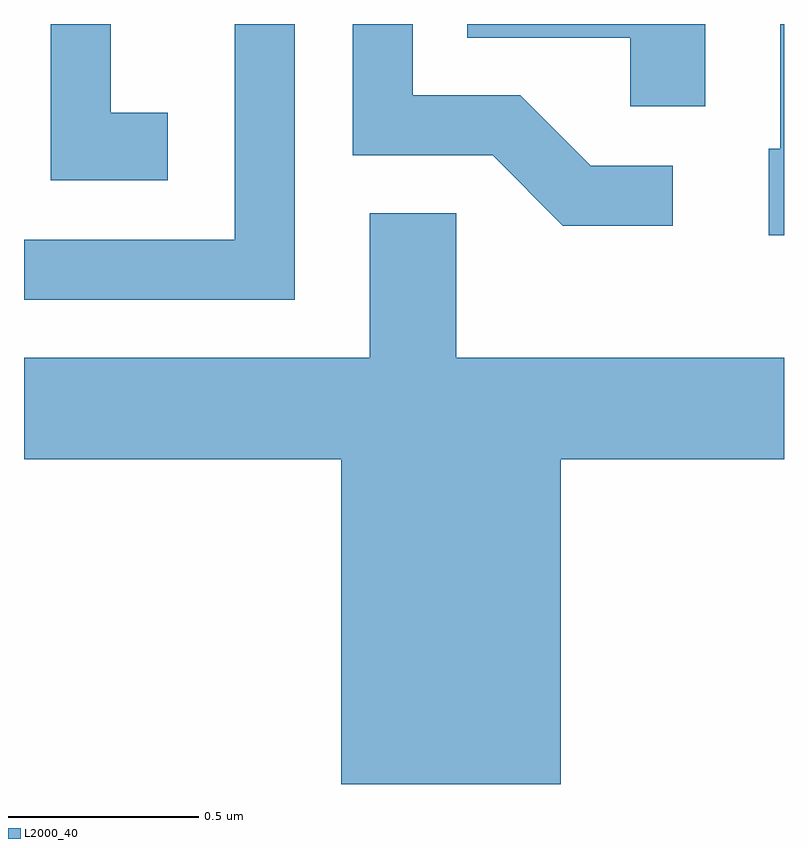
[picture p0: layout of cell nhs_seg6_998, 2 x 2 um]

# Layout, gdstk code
import gdstk
lib = gdstk.Library(unit=1e-6, precision=1e-09)
def P(c, l, *ps):  # polygons
    for p in ps: c.add(gdstk.Polygon(p, *l))
L2000_40 = (2000, 40)

nhs_seg6_998 = lib.new_cell('nhs_seg6_998')
P(nhs_seg6_998, L2000_40, [(194.318,1570.789),(194.102,1570.789),(193.917,1570.974),(193.634,1570.974),(193.634,1571.162),(193.476,1571.162),(193.476,1570.816),(193.844,1570.816),(194.029,1570.631),(194.318,1570.631)],
  [(192.989,1570.929),(192.839,1570.929),(192.839,1571.162),(192.681,1571.162),(192.681,1570.751),(192.989,1570.751)],
  [(193.324,1571.162),(193.166,1571.162),(193.166,1570.594),(192.611,1570.594),(192.611,1570.436),(193.324,1570.436)],
  [(194.611,1571.162),(194.601,1571.162),(194.601,1570.834),(194.571,1570.834),(194.571,1570.606),(194.611,1570.606)],
  [(194.404,1571.162),(193.778,1571.162),(193.778,1571.126),(194.206,1571.126),(194.206,1570.946),(194.404,1570.946)],
  [(194.024,1570.016),(194.611,1570.016),(194.611,1570.284),(193.749,1570.284),(193.749,1570.664),(193.521,1570.664),(193.521,1570.284),(192.611,1570.284),(192.611,1570.016),(193.446,1570.016),(193.446,1569.162),(194.024,1569.162)])

lib.write_gds('nhs_seg6_998.gds')
